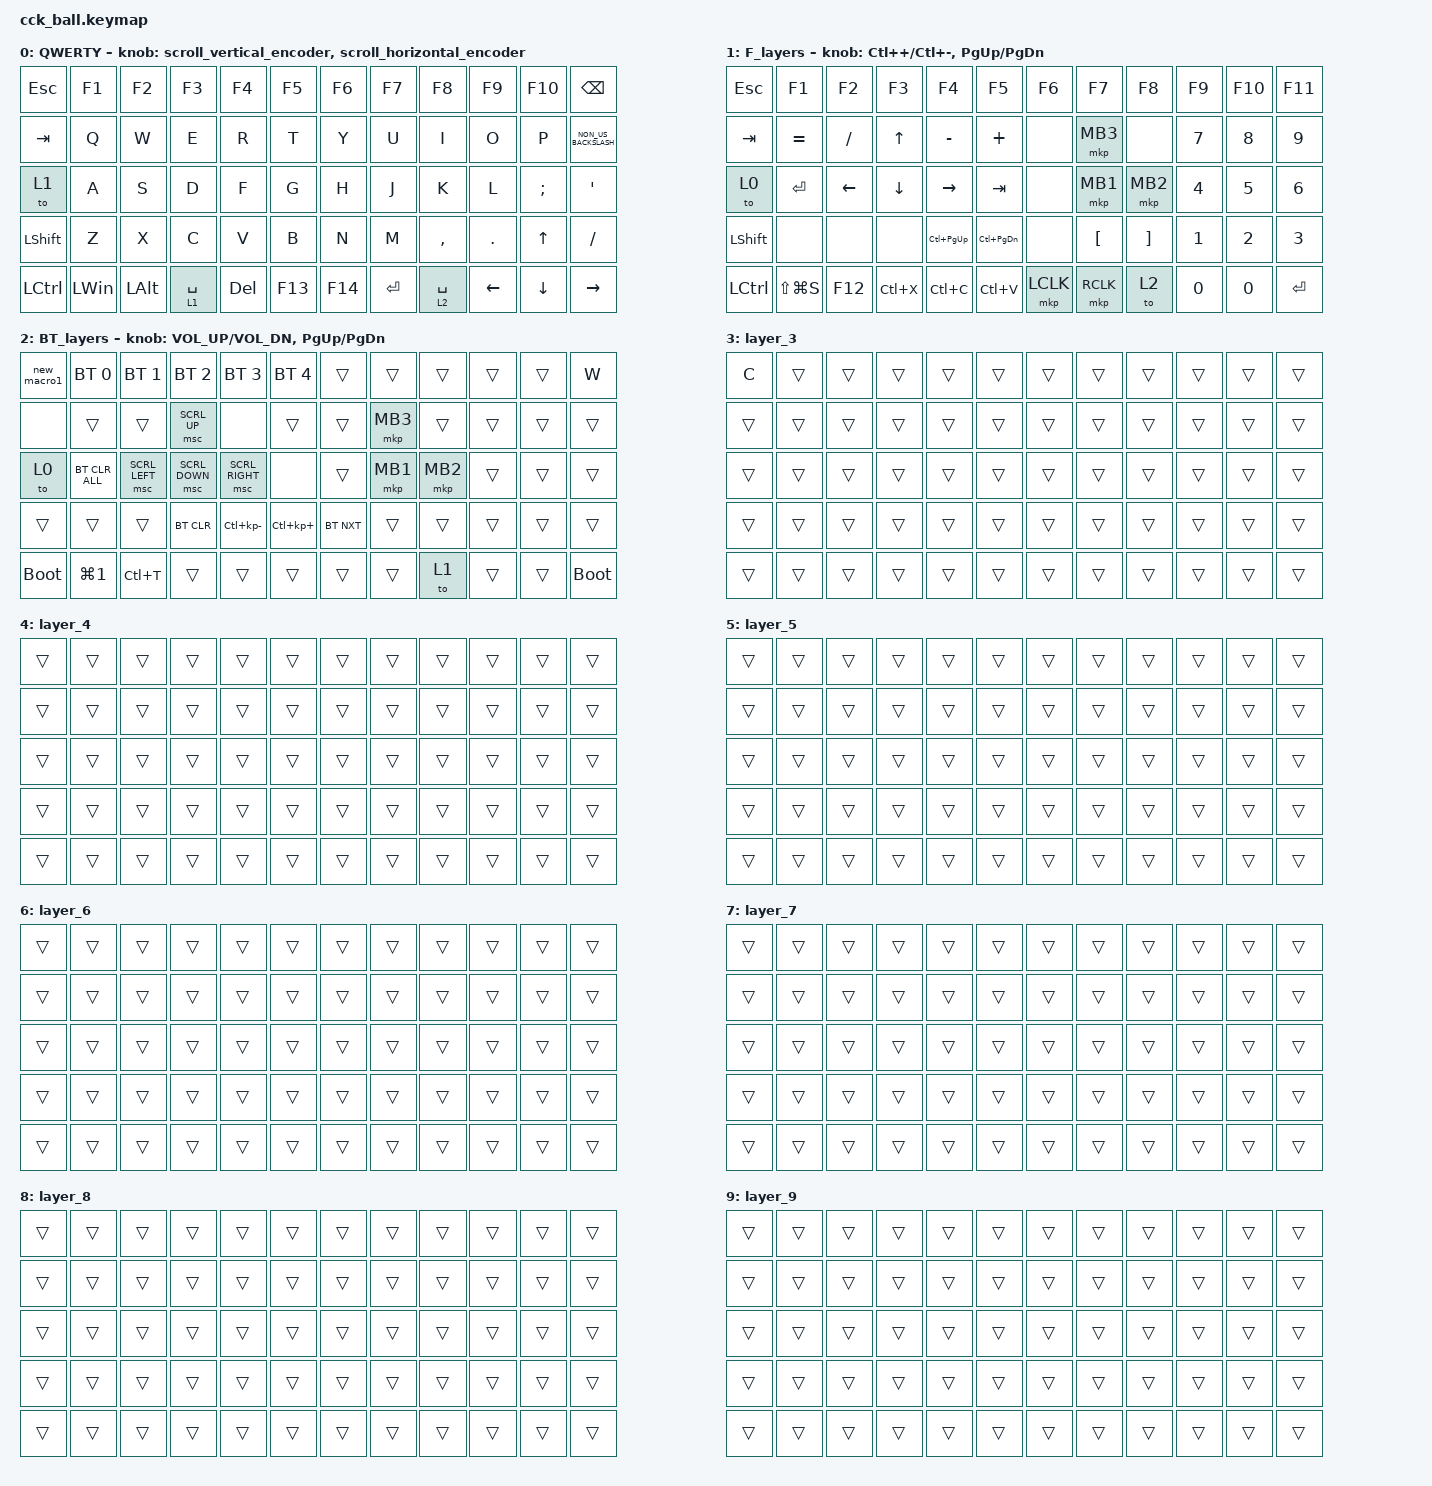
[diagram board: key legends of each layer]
#define ZMK_POINTING_DEFAULT_MOVE_VAL 1000
#define ZMK_POINTING_DEFAULT_SCRL_VAL 12

#include <input/processors.dtsi>
#include <zephyr/dt-bindings/input/input-event-codes.h>
#include <behaviors.dtsi>
#include <dt-bindings/zmk/bt.h>
#include <dt-bindings/zmk/keys.h>
#include <dt-bindings/zmk/pointing.h>

&mmv_input_listener { input-processors = <&zip_xy_scaler 2 1>; };

&msc_input_listener { input-processors = <&zip_scroll_scaler 2 1>; };

&msc {
    acceleration-exponent = <0>;
    time-to-max-speed-ms = <300>;
    delay-ms = <0>;
};

&mmv {
    time-to-max-speed-ms = <500>;
    acceleration-exponent = <1>;
    trigger-period-ms = <16>;
};

&soft_off { hold-time-ms = <2000>; };

&lt { tapping-term-ms = <1000>; };

&mt { tapping-term-ms = <1000>; };

/ {
    scroll_vertical_encoder: scroll_vertical_encoder {
        compatible = "zmk,behavior-sensor-rotate";
        #sensor-binding-cells = <0>;
        bindings = <&msc SCRL_DOWN>, <&msc SCRL_UP>;

        tap-ms = <100>;
    };

    scroll_horizontal_encoder: scroll_horizontal_encoder {
        compatible = "zmk,behavior-sensor-rotate";
        #sensor-binding-cells = <0>;
        bindings = <&msc SCRL_LEFT>, <&msc SCRL_RIGHT>;

        tap-ms = <100>;
    };

    behaviors {
    };

    macros {
        new_macro1: new_macro {
            compatible = "zmk,behavior-macro";
            #binding-cells = <0>;
            bindings = <&none &kp LS(T) &kp LS(O) &kp LS(M) &kp LS(A) &kp LS(T) &kp LS(O) &kp LS(W) &kp LS(A) &kp LS(T) &kp LS(E) &kp LS(R) &kp N7 &kp N5 &kp N2>;
            label = "NEW_MACRO";
        };

        new_macro: new_macro1 {
            compatible = "zmk,behavior-macro";
            #binding-cells = <0>;
            bindings = <&none>;
            label = "NEW_MACRO1";
        };
    };

    keymap {
        compatible = "zmk,keymap";

        QWERTY {
            bindings = <
&kp ESC           &kp F1        &kp F2        &kp F3       &kp F4      &kp F5   &kp F6   &kp F7     &kp F8       &kp F9          &kp F10         &kp BACKSPACE
&kp TAB           &kp Q         &kp W         &kp E        &kp R       &kp T    &kp Y    &kp U      &kp I        &kp O           &kp P           &kp NON_US_BACKSLASH
&to 1             &kp A         &kp S         &kp D        &kp F       &kp G    &kp H    &kp J      &kp K        &kp L           &kp SEMI        &kp SINGLE_QUOTE
&kp LEFT_SHIFT    &kp Z         &kp X         &kp C        &kp V       &kp B    &kp N    &kp M      &kp COMMA    &kp DOT         &kp UP_ARROW    &kp SLASH
&kp LEFT_CONTROL  &kp LEFT_WIN  &kp LEFT_ALT  &lt 1 SPACE  &kp DELETE  &kp F13  &kp F14  &kp ENTER  &lt 2 SPACE  &kp LEFT_ARROW  &kp DOWN_ARROW  &kp RIGHT_ARROW
            >;

            sensor-bindings = <&scroll_vertical_encoder &scroll_horizontal_encoder>;
        };

        F_layers {
            bindings = <
&kp ESCAPE        &kp F1         &kp F2          &kp F3          &kp F4           &kp F5             &kp F6     &kp F7     &kp F8    &kp F9        &kp F10  &kp F11
&kp TAB           &kp EQUAL      &kp SLASH       &kp UP_ARROW    &kp MINUS        &kp PLUS           &none      &mkp MB3   &none     &kp NUMBER_7  &kp N8   &kp N9
&to 0             &kp ENTER      &kp LEFT_ARROW  &kp DOWN_ARROW  &kp RIGHT_ARROW  &kp TAB            &none      &mkp MB1   &mkp MB2  &kp N4        &kp N5   &kp N6
&kp LEFT_SHIFT    &none          &none           &none           &kp LC(PAGE_UP)  &kp LC(PAGE_DOWN)  &none      &kp LBKT   &kp RBKT  &kp N1        &kp N2   &kp N3
&kp LEFT_CONTROL  &kp LS(LG(S))  &kp F12         &kp LC(X)       &kp LC(C)        &kp LC(V)          &mkp LCLK  &mkp RCLK  &to 2     &kp N0        &kp N0   &kp ENTER
            >;

            sensor-bindings = <&inc_dec_kp LC(PLUS) LC(MINUS) &inc_dec_kp PG_UP PG_DN>;
        };

        BT_layers {
            bindings = <
&new_macro1  &bt BT_SEL 0      &bt BT_SEL 1    &bt BT_SEL 2    &bt BT_SEL 3      &bt BT_SEL 4     &trans      &trans    &trans    &trans  &trans  &kp W
&none        &trans            &trans          &msc SCRL_UP    &none             &trans           &trans      &mkp MB3  &trans    &trans  &trans  &trans
&to 0        &bt BT_CLR_ALL    &msc SCRL_LEFT  &msc SCRL_DOWN  &msc SCRL_RIGHT   &none            &trans      &mkp MB1  &mkp MB2  &trans  &trans  &trans
&trans       &trans            &trans          &bt BT_CLR      &kp LC(KP_MINUS)  &kp LC(KP_PLUS)  &bt BT_NXT  &trans    &trans    &trans  &trans  &trans
&bootloader  &kp LG(NUMBER_1)  &kp LC(T)       &trans          &trans            &trans           &trans      &trans    &to 1     &trans  &trans  &bootloader
            >;

            sensor-bindings = <&inc_dec_kp C_VOL_UP C_VOL_DN &inc_dec_kp PG_UP PG_DN>;
        };

        layer_3 {
            bindings = <
&kp C   &trans  &trans  &trans  &trans  &trans  &trans  &trans  &trans  &trans  &trans  &trans
&trans  &trans  &trans  &trans  &trans  &trans  &trans  &trans  &trans  &trans  &trans  &trans
&trans  &trans  &trans  &trans  &trans  &trans  &trans  &trans  &trans  &trans  &trans  &trans
&trans  &trans  &trans  &trans  &trans  &trans  &trans  &trans  &trans  &trans  &trans  &trans
&trans  &trans  &trans  &trans  &trans  &trans  &trans  &trans  &trans  &trans  &trans  &trans
            >;
        };

        layer_4 {
            bindings = <
&trans  &trans  &trans  &trans  &trans  &trans  &trans  &trans  &trans  &trans  &trans  &trans
&trans  &trans  &trans  &trans  &trans  &trans  &trans  &trans  &trans  &trans  &trans  &trans
&trans  &trans  &trans  &trans  &trans  &trans  &trans  &trans  &trans  &trans  &trans  &trans
&trans  &trans  &trans  &trans  &trans  &trans  &trans  &trans  &trans  &trans  &trans  &trans
&trans  &trans  &trans  &trans  &trans  &trans  &trans  &trans  &trans  &trans  &trans  &trans
            >;
        };

        layer_5 {
            bindings = <
&trans  &trans  &trans  &trans  &trans  &trans  &trans  &trans  &trans  &trans  &trans  &trans
&trans  &trans  &trans  &trans  &trans  &trans  &trans  &trans  &trans  &trans  &trans  &trans
&trans  &trans  &trans  &trans  &trans  &trans  &trans  &trans  &trans  &trans  &trans  &trans
&trans  &trans  &trans  &trans  &trans  &trans  &trans  &trans  &trans  &trans  &trans  &trans
&trans  &trans  &trans  &trans  &trans  &trans  &trans  &trans  &trans  &trans  &trans  &trans
            >;
        };

        layer_6 {
            bindings = <
&trans  &trans  &trans  &trans  &trans  &trans  &trans  &trans  &trans  &trans  &trans  &trans
&trans  &trans  &trans  &trans  &trans  &trans  &trans  &trans  &trans  &trans  &trans  &trans
&trans  &trans  &trans  &trans  &trans  &trans  &trans  &trans  &trans  &trans  &trans  &trans
&trans  &trans  &trans  &trans  &trans  &trans  &trans  &trans  &trans  &trans  &trans  &trans
&trans  &trans  &trans  &trans  &trans  &trans  &trans  &trans  &trans  &trans  &trans  &trans
            >;
        };

        layer_7 {
            bindings = <
&trans  &trans  &trans  &trans  &trans  &trans  &trans  &trans  &trans  &trans  &trans  &trans
&trans  &trans  &trans  &trans  &trans  &trans  &trans  &trans  &trans  &trans  &trans  &trans
&trans  &trans  &trans  &trans  &trans  &trans  &trans  &trans  &trans  &trans  &trans  &trans
&trans  &trans  &trans  &trans  &trans  &trans  &trans  &trans  &trans  &trans  &trans  &trans
&trans  &trans  &trans  &trans  &trans  &trans  &trans  &trans  &trans  &trans  &trans  &trans
            >;
        };

        layer_8 {
            bindings = <
&trans  &trans  &trans  &trans  &trans  &trans  &trans  &trans  &trans  &trans  &trans  &trans
&trans  &trans  &trans  &trans  &trans  &trans  &trans  &trans  &trans  &trans  &trans  &trans
&trans  &trans  &trans  &trans  &trans  &trans  &trans  &trans  &trans  &trans  &trans  &trans
&trans  &trans  &trans  &trans  &trans  &trans  &trans  &trans  &trans  &trans  &trans  &trans
&trans  &trans  &trans  &trans  &trans  &trans  &trans  &trans  &trans  &trans  &trans  &trans
            >;
        };

        layer_9 {
            bindings = <
&trans  &trans  &trans  &trans  &trans  &trans  &trans  &trans  &trans  &trans  &trans  &trans
&trans  &trans  &trans  &trans  &trans  &trans  &trans  &trans  &trans  &trans  &trans  &trans
&trans  &trans  &trans  &trans  &trans  &trans  &trans  &trans  &trans  &trans  &trans  &trans
&trans  &trans  &trans  &trans  &trans  &trans  &trans  &trans  &trans  &trans  &trans  &trans
&trans  &trans  &trans  &trans  &trans  &trans  &trans  &trans  &trans  &trans  &trans  &trans
            >;
        };
    };
};
